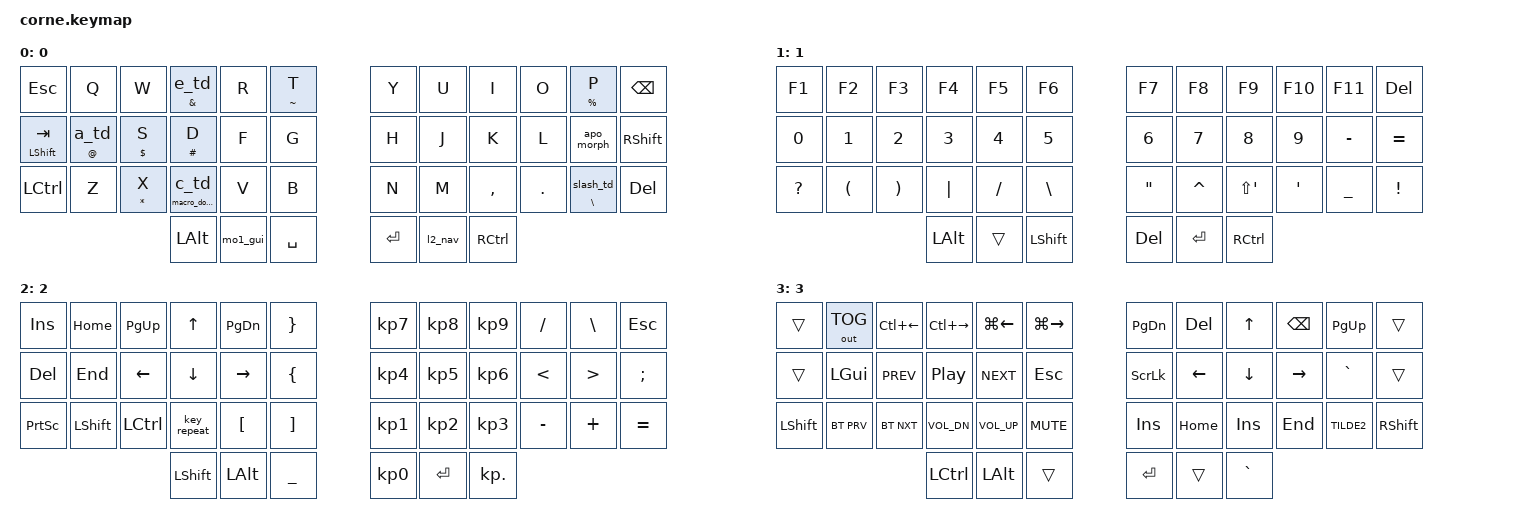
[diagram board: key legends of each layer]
#include <dt-bindings/zmk/modifiers.h>
#include <behaviors.dtsi>
#include <dt-bindings/zmk/bt.h>
#include <dt-bindings/zmk/keys.h>
#include <dt-bindings/zmk/outputs.h>

/ {
    behaviors {
        /* Win hold: double-tap mo1_gui then hold → LGUI maintained */
        lgui_hold: lgui_hold {
            compatible = "zmk,behavior-hold-tap";
            #binding-cells = <2>;
            bindings = <&kp>, <&kp>;
            flavor = "hold-preferred";
            tapping-term-ms = <50>;
        };

        mo1_gui: mo1_gui {
            compatible = "zmk,behavior-tap-dance";
            #binding-cells = <0>;
            tapping-term-ms = <200>;
            bindings = <&mo 1>, <&lgui_hold LGUI LGUI>;
        };

        l2_nav: l2_nav {
            compatible = "zmk,behavior-tap-dance";
            #binding-cells = <0>;
            tapping-term-ms = <200>;
            bindings = <&mo 2>, <&mo 3>;
        };

        /* ==== Layer 0 multi-tap + hold behaviors ==== */
        /* --- Macros --- */
        /* É = dead key SQT + E (US International) */
        macro_e_acute: macro_e_acute {
            compatible = "zmk,behavior-macro";
            #binding-cells = <0>;
            tap-ms = <20>;
            wait-ms = <50>;
            bindings = <&kp SQT &kp E>;
        };

        /* È = dead key GRAVE + E */
        macro_e_grave: macro_e_grave {
            compatible = "zmk,behavior-macro";
            #binding-cells = <0>;
            tap-ms = <20>;
            wait-ms = <50>;
            bindings = <&kp GRAVE &kp E>;
        };

        /* À = dead key GRAVE + A */
        macro_a_grave: macro_a_grave {
            compatible = "zmk,behavior-macro";
            #binding-cells = <0>;
            tap-ms = <20>;
            wait-ms = <50>;
            bindings = <&kp GRAVE &kp A>;
        };

        /* Direct apostrophe = dead key SQT + SPACE */
        macro_apostrophe: macro_apostrophe {
            compatible = "zmk,behavior-macro";
            #binding-cells = <0>;
            tap-ms = <20>;
            wait-ms = <50>;
            bindings = <&kp SQT &kp SPACE>;
        };

        /* .com */
        macro_dotcom: macro_dotcom {
            compatible = "zmk,behavior-macro";
            #binding-cells = <0>;
            tap-ms = <10>;
            wait-ms = <10>;
            bindings = <&kp DOT &kp C &kp O &kp M>;
        };

        /* ç = dead key SQT + C (US International) */
        macro_ccedilla: macro_ccedilla {
            compatible = "zmk,behavior-macro";
            #binding-cells = <0>;
            tap-ms = <20>;
            wait-ms = <50>;
            bindings = <&kp SQT &kp C>;
        };

        /* --- Tap dances --- */
        e_td: e_td {
            compatible = "zmk,behavior-tap-dance";
            #binding-cells = <0>;
            tapping-term-ms = <300>;
            bindings = <&kp E>, <&macro_e_acute>, <&macro_e_grave>;
        };

        a_td: a_td {
            compatible = "zmk,behavior-tap-dance";
            #binding-cells = <0>;
            tapping-term-ms = <300>;
            bindings = <&kp A>, <&macro_a_grave>;
        };

        c_td: c_td {
            compatible = "zmk,behavior-tap-dance";
            #binding-cells = <0>;
            tapping-term-ms = <300>;
            bindings = <&kp C>, <&macro_ccedilla>;
        };

        slash_td: slash_td {
            compatible = "zmk,behavior-tap-dance";
            #binding-cells = <0>;
            tapping-term-ms = <300>;
            bindings = <&kp FSLH>, <&kp LS(BSLH)>;
        };

        /* Apostrophe: tap=' (immediate), hold=; */
        apo_ht: apo_ht {
            compatible = "zmk,behavior-hold-tap";
            #binding-cells = <0>;
            bindings = <&kp SEMI>, <&macro_apostrophe>;
            flavor = "tap-preferred";
            tapping-term-ms = <150>;
            quick-tap-ms = <0>;
        };

        /* --- Hold-taps --- */
        e_behavior: e_behavior {
            compatible = "zmk,behavior-hold-tap";
            #binding-cells = <2>;
            bindings = <&kp>, <&e_td>;
            flavor = "tap-preferred";
            tapping-term-ms = <200>;
        };

        a_behavior: a_behavior {
            compatible = "zmk,behavior-hold-tap";
            #binding-cells = <2>;
            bindings = <&kp>, <&a_td>;
            flavor = "tap-preferred";
            tapping-term-ms = <200>;
        };

        c_behavior: c_behavior {
            compatible = "zmk,behavior-hold-tap";
            #binding-cells = <2>;
            bindings = <&macro_dotcom>, <&c_td>;
            flavor = "tap-preferred";
            tapping-term-ms = <200>;
        };

        slash_behavior: slash_behavior {
            compatible = "zmk,behavior-hold-tap";
            #binding-cells = <2>;
            bindings = <&kp>, <&slash_td>;
            flavor = "tap-preferred";
            tapping-term-ms = <200>;
        };

        /* Generic symbol-hold: hold=symbol, tap=letter */
        sym_hold: sym_hold {
            compatible = "zmk,behavior-hold-tap";
            #binding-cells = <2>;
            bindings = <&kp>, <&kp>;
            flavor = "tap-preferred";
            tapping-term-ms = <200>;
        };

        /* --- Mod-morph: apostrophe with Shift → colon --- */
        apo_morph: apo_morph {
            compatible = "zmk,behavior-mod-morph";
            #binding-cells = <0>;
            bindings = <&apo_ht>, <&kp LS(SEMI)>;
            mods = <(MOD_LSFT | MOD_RSFT)>;
        };
    };

    combos {
        compatible = "zmk,combos";

        combo_capslock {
            timeout-ms = <40>;
            bindings = <&kp CLCK>;
            key-positions = <0 11>;
            layers = <0>;
        };

        combo_capsword {
            timeout-ms = <40>;
            bindings = <&caps_word>;
            key-positions = <30 29>;
            layers = <0>;
        };

        combo_nav_toggle {
            timeout-ms = <40>;
            bindings = <&tog 3>;
            key-positions = <9 10 11>;
            layers = <0 1 2 3>;
        };

        combo_numlock {
            bindings = <&kp LOCKING_NUM>;
            key-positions = <11 12 0 23>;
            timeout-ms = <40>;
            layers = <0>;
        };

        combo_bootloader_L {
            bindings = <&bootloader>;
            key-positions = <3 4 14 5>;
            timeout-ms = <100>;
            require-prior-idle-ms = <150>;
            layers = <0>;
        };

        combo_bootloader_R {
            bindings = <&bootloader>;
            key-positions = <6 7 8 21>;
            timeout-ms = <100>;
            require-prior-idle-ms = <150>;
            layers = <0>;
        };

        copy {
            bindings = <&kp LC(C)>;
            key-positions = <3 4>;
            timeout-ms = <40>;
            layers = <0>;
        };

        paste {
            bindings = <&kp LC(V)>;
            key-positions = <16 15>;
            timeout-ms = <40>;
            layers = <0>;
        };

        cut {
            bindings = <&kp LC(X)>;
            key-positions = <27 28>;
            timeout-ms = <40>;
            layers = <0>;
        };

        combo_shift_a_tab {
            bindings = <&kp TAB>;
            key-positions = <12 13>;
            timeout-ms = <30>;
            require-prior-idle-ms = <0>;
            layers = <0>;
        };
    };

    keymap {
        compatible = "zmk,keymap";

        default_layer {
            label = "0";
            bindings = <
&kp ESCAPE  &kp Q                  &kp W             &e_behavior AMPERSAND 0  &kp R     &sym_hold TILDE T    &kp Y      &kp U    &kp I      &kp O    &sym_hold PRCNT P       &kp BSPC
&mt LSHFT TAB  &a_behavior AT_SIGN 0  &sym_hold DLLR S  &sym_hold HASH D         &kp F     &kp G                &kp H      &kp J    &kp K      &kp L    &apo_morph              &kp RSHFT
&kp LCTRL   &kp Z                  &sym_hold STAR X  &c_behavior 0 0          &kp V     &kp B                &kp N      &kp M    &kp COMMA  &kp DOT  &slash_behavior BSLH 0  &kp DEL
                                                     &kp LALT                 &mo1_gui  &kp SPACE            &kp ENTER  &l2_nav  &kp RCTRL
            >;
        };

        num_layer {
            label = "1";
            bindings = <
&kp F1        &kp F2    &kp F3    &kp F4        &kp F5    &kp F6       &kp F7             &kp F8     &kp F9       &kp F10  &kp F11    &kp DEL
&kp N0        &kp N1    &kp N2    &kp N3        &kp N4    &kp N5       &kp N6             &kp N7     &kp N8       &kp N9   &kp MINUS  &kp EQUAL
&kp QUESTION  &kp LPAR  &kp RPAR  &kp PIPE      &kp FSLH  &kp BSLH     &kp DOUBLE_QUOTES  &kp CARET  &kp LS(SQT)  &kp SQT  &kp UNDER  &kp EXCL
                                  &kp LEFT_ALT  &trans    &kp LSHFT    &kp DELETE         &kp RET    &kp RCTRL
            >;
        };

        fr_accents_signs {
            label = "2";
            bindings = <
&kp INSERT       &kp HOME   &kp PG_UP         &kp UP_ARROW    &kp PAGE_DOWN     &kp RBRC             &kp KP_NUMBER_7  &kp KP_NUMBER_8  &kp KP_NUMBER_9  &kp FSLH   &kp BSLH  &kp ESC
&kp DEL          &kp END    &kp LEFT_ARROW    &kp DOWN_ARROW  &kp RIGHT_ARROW   &kp LEFT_BRACE       &kp KP_NUMBER_4  &kp KP_NUMBER_5  &kp KP_NUMBER_6  &kp LT     &kp GT    &kp SEMI
&kp PRINTSCREEN  &kp LSHFT  &kp LEFT_CONTROL  &key_repeat     &kp LEFT_BRACKET  &kp RIGHT_BRACKET    &kp KP_NUMBER_1  &kp KP_NUMBER_2  &kp KP_NUMBER_3  &kp MINUS  &kp PLUS  &kp EQUAL
                                              &kp LSHFT       &kp LALT          &kp UNDER            &kp KP_NUMBER_0  &kp RET          &kp KP_DOT
            >;
        };

        nav_layer {
            label = "3";
            bindings = <
&trans     &out OUT_TOG  &kp LC(LEFT)  &kp LC(RIGHT)  &kp LG(LEFT)  &kp LG(RIGHT)    &kp PAGE_DOWN   &kp DEL   &kp UP     &kp BSPC   &kp PAGE_UP  &trans
&trans     &kp LGUI      &kp C_PREV    &kp C_PP       &kp C_NEXT    &kp ESCAPE       &kp SCROLLLOCK  &kp LEFT  &kp DOWN   &kp RIGHT  &kp GRAVE    &trans
&kp LSHFT  &bt BT_PRV    &bt BT_NXT    &kp C_VOL_DN   &kp C_VOL_UP  &kp C_MUTE       &kp INS         &kp HOME  &kp INS    &kp END    &kp TILDE2   &kp RSHFT
                                       &kp LCTRL      &kp LEFT_ALT  &trans           &kp ENTER       &trans    &kp GRAVE
            >;
        };
    };
};

&soft_off {
    /delete-property/ split-peripheral-off-on-press;

    hold-time-ms = <3000>;
};
